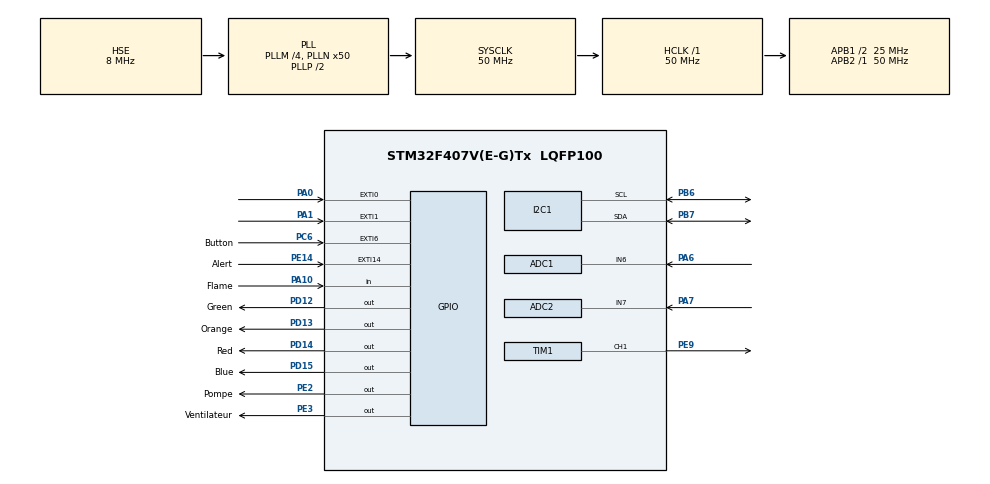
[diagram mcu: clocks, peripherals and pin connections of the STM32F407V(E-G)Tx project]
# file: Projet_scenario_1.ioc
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ADC1.Channel-0\#ChannelRegularConversion=ADC_CHANNEL_6
ADC1.ContinuousConvMode=ENABLE
ADC1.InjNumberOfConversion=0
ADC1.NbrOfConversion=1
ADC1.NbrOfConversionFlag=1
ADC1.Rank-0\#ChannelRegularConversion=1
ADC1.SamplingTime-0\#ChannelRegularConversion=ADC_SAMPLETIME_480CYCLES
ADC1.ScanConvMode=DISABLE
ADC1.master=1
ADC2.Channel-0\#ChannelRegularConversion=ADC_CHANNEL_7
ADC2.ContinuousConvMode=ENABLE
ADC2.NbrOfConversionFlag=1
ADC2.Rank-0\#ChannelRegularConversion=1
ADC2.SamplingTime-0\#ChannelRegularConversion=ADC_SAMPLETIME_3CYCLES
Dma.ADC1.1.Direction=DMA_PERIPH_TO_MEMORY
Dma.ADC1.1.FIFOMode=DMA_FIFOMODE_DISABLE
Dma.ADC1.1.Instance=DMA2_Stream0
Dma.ADC1.1.MemDataAlignment=DMA_MDATAALIGN_HALFWORD
Dma.ADC1.1.MemInc=DMA_MINC_ENABLE
Dma.ADC1.1.Mode=DMA_CIRCULAR
Dma.ADC1.1.PeriphDataAlignment=DMA_PDATAALIGN_HALFWORD
Dma.ADC1.1.PeriphInc=DMA_PINC_DISABLE
Dma.ADC1.1.Priority=DMA_PRIORITY_LOW
Dma.ADC2.2.Direction=DMA_PERIPH_TO_MEMORY
Dma.ADC2.2.FIFOMode=DMA_FIFOMODE_DISABLE
Dma.ADC2.2.Instance=DMA2_Stream2
Dma.ADC2.2.MemDataAlignment=DMA_MDATAALIGN_HALFWORD
Dma.ADC2.2.MemInc=DMA_MINC_ENABLE
Dma.ADC2.2.Mode=DMA_NORMAL
Dma.ADC2.2.PeriphDataAlignment=DMA_PDATAALIGN_HALFWORD
Dma.ADC2.2.PeriphInc=DMA_PINC_DISABLE
Dma.ADC2.2.Priority=DMA_PRIORITY_LOW
Dma.I2C1_TX.0.Direction=DMA_MEMORY_TO_PERIPH
Dma.I2C1_TX.0.FIFOMode=DMA_FIFOMODE_DISABLE
Dma.I2C1_TX.0.Instance=DMA1_Stream6
Dma.I2C1_TX.0.MemDataAlignment=DMA_MDATAALIGN_BYTE
Dma.I2C1_TX.0.MemInc=DMA_MINC_ENABLE
Dma.I2C1_TX.0.Mode=DMA_NORMAL
Dma.I2C1_TX.0.PeriphDataAlignment=DMA_PDATAALIGN_BYTE
Dma.I2C1_TX.0.PeriphInc=DMA_PINC_DISABLE
Dma.I2C1_TX.0.Priority=DMA_PRIORITY_HIGH
Dma.Request0=I2C1_TX
Dma.Request1=ADC1
Dma.Request2=ADC2
Mcu.Family=STM32F4
Mcu.Name=STM32F407V(E-G)Tx
Mcu.Package=LQFP100
NVIC.ADC_IRQn=true\:0\:0\:false\:false\:true\:true\:true\:true
NVIC.DMA1_Stream6_IRQn=true\:0\:0\:false\:false\:true\:false\:true\:true
NVIC.DMA2_Stream0_IRQn=true\:0\:0\:false\:false\:true\:false\:true\:true
NVIC.DMA2_Stream2_IRQn=true\:0\:0\:false\:false\:true\:false\:true\:true
NVIC.EXTI0_IRQn=true\:0\:0\:false\:false\:true\:true\:true\:true
NVIC.EXTI15_10_IRQn=true\:0\:0\:false\:false\:true\:true\:true\:true
NVIC.EXTI1_IRQn=true\:0\:0\:false\:false\:true\:true\:true\:true
NVIC.EXTI9_5_IRQn=true\:0\:0\:false\:false\:true\:true\:true\:true
NVIC.PriorityGroup=NVIC_PRIORITYGROUP_4
NVIC.TIM6_DAC_IRQn=true\:0\:0\:false\:false\:true\:true\:true\:true
NVIC.TIM7_IRQn=true\:0\:0\:false\:false\:true\:true\:true\:true
PA0-WKUP.GPIO_ModeDefaultEXTI=GPIO_MODE_IT_RISING_FALLING
PA0-WKUP.Signal=GPXTI0
PA1.GPIO_ModeDefaultEXTI=GPIO_MODE_IT_RISING_FALLING
PA1.GPIO_PuPd=GPIO_PULLUP
PA1.Signal=GPXTI1
PA10.GPIO_Label=Flame
PA10.Signal=GPIO_Input
PA6.Signal=ADCx_IN6
PA7.Signal=ADCx_IN7
PB6.Mode=I2C
PB6.Signal=I2C1_SCL
PB7.Mode=I2C
PB7.Signal=I2C1_SDA
PC6.GPIO_Label=Button
PC6.GPIO_PuPd=GPIO_PULLDOWN
PC6.Signal=GPXTI6
PD12.GPIO_Label=Green
PD12.Signal=GPIO_Output
PD13.GPIO_Label=Orange
PD13.Signal=GPIO_Output
PD14.GPIO_Label=Red
PD14.Signal=GPIO_Output
PD15.GPIO_Label=Blue
PD15.Signal=GPIO_Output
PE14.GPIO_Label=Alert
PE14.GPIO_PuPd=GPIO_PULLDOWN
PE14.Signal=GPXTI14
PE2.GPIO_Label=Pompe
PE2.Signal=GPIO_Output
PE3.GPIO_Label=Ventilateur
PE3.Signal=GPIO_Output
PE9.Signal=S_TIM1_CH1
PH0-OSC_IN.Mode=HSE-External-Oscillator
PH0-OSC_IN.Signal=RCC_OSC_IN
PH1-OSC_OUT.Mode=HSE-External-Oscillator
PH1-OSC_OUT.Signal=RCC_OSC_OUT
ProjectManager.HeapSize=0x200
ProjectManager.StackSize=0x400
ProjectManager.TargetToolchain=STM32CubeIDE
RCC.48MHZClocksFreq_Value=25000000
RCC.AHBFreq_Value=50000000
RCC.APB1CLKDivider=RCC_HCLK_DIV2
RCC.APB1Freq_Value=25000000
RCC.APB1TimFreq_Value=50000000
RCC.APB2Freq_Value=50000000
RCC.APB2TimFreq_Value=50000000
RCC.CortexFreq_Value=50000000
RCC.HCLKFreq_Value=50000000
RCC.HSE_VALUE=8000000
RCC.HSI_VALUE=16000000
RCC.LSE_VALUE=32768
RCC.PLLM=4
RCC.PLLN=50
RCC.PLLSourceVirtual=RCC_PLLSOURCE_HSE
RCC.SYSCLKFreq_VALUE=50000000
RCC.SYSCLKSource=RCC_SYSCLKSOURCE_PLLCLK
RCC.VCOOutputFreq_Value=100000000
SH.ADCx_IN6.0=ADC1_IN6,IN6
SH.ADCx_IN7.0=ADC2_IN7,IN7
SH.S_TIM1_CH1.0=TIM1_CH1,PWM Generation1 CH1
TIM1.Channel-PWM\ Generation1\ CH1=TIM_CHANNEL_1
TIM1.Period=1000
TIM1.Pulse-PWM\ Generation1\ CH1=500
TIM6.AutoReloadPreload=TIM_AUTORELOAD_PRELOAD_DISABLE
TIM6.Period=19999
TIM6.Prescaler=4999
TIM6.TIM_MasterOutputTrigger=TIM_TRGO_UPDATE
TIM7.Period=29999
TIM7.Prescaler=4999
VP_TIM1_VS_ClockSourceINT.Mode=Internal
VP_TIM6_VS_ClockSourceINT.Mode=Enable_Timer
VP_TIM7_VS_ClockSourceINT.Mode=Enable_Timer
board=custom

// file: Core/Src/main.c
/* USER CODE BEGIN Header */
/**
  ******************************************************************************
  * @file           : main.c
  * @brief          : Main program body
  ******************************************************************************
  * @attention
  *
  * Copyright (c) 2025 STMicroelectronics.
  * All rights reserved.
  *
  * This software is licensed under terms that can be found in the LICENSE file
  * in the root directory of this software component.
  * If no LICENSE file comes with this software, it is provided AS-IS.
  *
  ******************************************************************************
  */
/* USER CODE END Header */
#include "main.h"

/* USER CODE BEGIN Includes */
#include "liquidcrystal_i2c.h"
#include <stdio.h>
#include <string.h>

/* USER CODE END Includes */

/* USER CODE BEGIN PTD */
typedef enum {
  MODE_JOUR = 0,
  MODE_NUIT
} ModeLuminosite;
/* USER CODE END PTD */

/* USER CODE BEGIN PD */
#define MAX_ALERTS 5

typedef enum {
    ALERT_FLAMME = 1,
    ALERT_TEMP_HAUTE,
    ALERT_SOL_SEC
} alert_type_t;
/* USER CODE END PD */

ADC_HandleTypeDef hadc1;
ADC_HandleTypeDef hadc2;
DMA_HandleTypeDef hdma_adc1;
DMA_HandleTypeDef hdma_adc2;

I2C_HandleTypeDef hi2c1;
DMA_HandleTypeDef hdma_i2c1_tx;

TIM_HandleTypeDef htim1;
TIM_HandleTypeDef htim6;
TIM_HandleTypeDef htim7;

/* USER CODE BEGIN PV */
float current_soil= 0.0f;
float current_temperature = 0.0f;
int status=0;
int buzzer_on=0;
int flame_buzzer=0;
ModeLuminosite currentMode = MODE_JOUR;

// Buffer temporaire pour affichage
char display_buffer[17];
int tempbuff[1];
int soilbuff[1];
uint8_t flag=0;

/* USER CODE END PV */

void SystemClock_Config(void);
static void MX_GPIO_Init(void);
static void MX_DMA_Init(void);
static void MX_I2C1_Init(void);
static void MX_TIM1_Init(void);
static void MX_TIM6_Init(void);
static void MX_ADC1_Init(void);
static void MX_TIM7_Init(void);
static void MX_ADC2_Init(void);
/* USER CODE BEGIN PFP */
void PrepareLastTwoAlerts(void);
void Log_Alert(alert_type_t type);

/* USER CODE BEGIN 0 */

void HAL_GPIO_EXTI_Callback(uint16_t GPIO_Pin)
{
    if (GPIO_Pin == Button_Pin)
    {
        status = !status;

        if (status)
        {
            HAL_GPIO_WritePin(GPIOD, Green_Pin, GPIO_PIN_SET);
            HAL_GPIO_WritePin(GPIOD, Blue_Pin, GPIO_PIN_RESET);
            HAL_GPIO_WritePin(GPIOD, Orange_Pin, GPIO_PIN_RESET);
            HAL_GPIO_WritePin(GPIOD, Red_Pin, GPIO_PIN_RESET);
            HD44780_Clear();
            HD44780_SetCursor(0,0);
            HD44780_PrintStr("SYSTEM");
            HD44780_SetCursor(0,1);
            HD44780_PrintStr("ON");
        }
        else
        {
            HAL_GPIO_WritePin(GPIOD, Green_Pin, GPIO_PIN_RESET);
            HAL_GPIO_WritePin(GPIOD, Blue_Pin, GPIO_PIN_RESET);
            HAL_GPIO_WritePin(GPIOD, Orange_Pin, GPIO_PIN_RESET);
            HD44780_Clear();
            HD44780_SetCursor(0,0);
            HD44780_PrintStr("SYSTEM");
            HD44780_SetCursor(0,1);
            HD44780_PrintStr("OFF");
        }
    }

    if ((GPIO_Pin == GPIO_PIN_0) && status)
    {
        GPIO_PinState ldrState = HAL_GPIO_ReadPin(GPIOA, GPIO_PIN_0);

        if (ldrState != GPIO_PIN_SET)
        {
            currentMode = MODE_JOUR;
            HAL_GPIO_WritePin(GPIOD, Blue_Pin, GPIO_PIN_RESET);

            HD44780_Clear();
            HD44780_SetCursor(0,0);
            HD44780_PrintStr("Mode jour active");
            HD44780_SetCursor(0,1);
            HD44780_PrintStr("Lumiere forte");
        }
        else
        {
            currentMode = MODE_NUIT;
            HAL_GPIO_WritePin(GPIOD, Blue_Pin, GPIO_PIN_SET);

            HD44780_Clear();
            HD44780_SetCursor(0,0);
            HD44780_PrintStr("Mode nuit active");
            HD44780_SetCursor(0,1);
            HD44780_PrintStr("Lumiere faible");
        }
    }
    if((GPIO_Pin == Alert_Pin)&& status)
    {

    	flag= 1;

    }
}

void HAL_TIM_PeriodElapsedCallback(TIM_HandleTypeDef *htim)
{
	if (htim->Instance == TIM6)
	{
		HAL_ADC_Start_DMA(&hadc1,(uint32_t *)tempbuff,1);
		HAL_ADC_Start_DMA(&hadc2, (uint32_t*)&soilbuff, 1);
	}
	else if (htim->Instance == TIM7)
	{
		HAL_GPIO_WritePin(GPIOD, Blue_Pin, GPIO_PIN_RESET);
		HAL_GPIO_WritePin(GPIOD, Orange_Pin, GPIO_PIN_RESET);
		HAL_GPIO_WritePin(GPIOD, Red_Pin, GPIO_PIN_RESET);
		HAL_GPIO_WritePin(GPIOE, Pompe_Pin, GPIO_PIN_RESET);
		HAL_GPIO_WritePin(GPIOE, Ventilateur_Pin, GPIO_PIN_RESET);

		HAL_TIM_PWM_Stop(&htim1,TIM_CHANNEL_1);
	    HAL_TIM_Base_Stop_IT(&htim7);
	}
}
/* Variables globales à ajouter */

/* Remplace tout ton HAL_ADC_ConvCpltCallback par ça */
void HAL_ADC_ConvCpltCallback(ADC_HandleTypeDef* hadc)
{
    char line1[17], line2[17];

    /* ====================== ADC1 = TEMPÉRATURE ====================== */
    if (hadc->Instance == ADC1 && status)
    {
        int raw = HAL_ADC_GetValue(&hadc1);
        float voltage = (raw * 3.3f) / 4095.0f;
        current_temperature = (voltage - 0.75f) * 100.0f;  // LM35 ou TMP36

        /* Si température haute */
        if (current_temperature > 35.0f)
        {
            snprintf(line1, 17, "TEMP: %.1fC", current_temperature);
            snprintf(line2, 17, "VENTILATEUR ON");

            HAL_GPIO_WritePin(GPIOD, Blue_Pin, GPIO_PIN_SET);
            HAL_GPIO_WritePin(GPIOE, Ventilateur_Pin, GPIO_PIN_SET);

            buzzer_on = 1;
            Log_Alert(ALERT_TEMP_HAUTE);
        }
    }

    /* ====================== ADC2 = HUMIDITÉ SOL ====================== */
    else if (hadc->Instance == ADC2 && status)
    {
        int raw = HAL_ADC_GetValue(&hadc2);
        current_soil = (float)raw;

        /* Seuil pour sol sec */
        if (raw > 3200)
        {
            snprintf(line1, 17, "Soil: %d", raw);
            snprintf(line2, 17, "POMPE ON");

            HAL_GPIO_WritePin(GPIOD, Blue_Pin, GPIO_PIN_SET);
            HAL_GPIO_WritePin(GPIOE, Pompe_Pin, GPIO_PIN_SET);

            buzzer_on = 1;
            Log_Alert(ALERT_SOL_SEC);
        }

        /* ====================== FLAMME ====================== */
        GPIO_PinState flame = HAL_GPIO_ReadPin(GPIOA, Flame_Pin);

        if (flame == GPIO_PIN_RESET)
        {
            snprintf(line1, 17, "Flamme!!");
            snprintf(line2, 17, "System STOP");

            HAL_GPIO_WritePin(GPIOD, Red_Pin, GPIO_PIN_SET);

            flame_buzzer = 1;
            HAL_TIM_PWM_Start(&htim1, TIM_CHANNEL_1);

            Log_Alert(ALERT_FLAMME);

            /* Timer d'arrêt total */
            HAL_TIM_Base_Start_IT(&htim7);
        }
        else
        {
            /* === Aucun danger détecté === */
            snprintf(line1, 17, "Temp: %.1fC", current_temperature);
            snprintf(line2, 17, "Soil: %.0f", current_soil);

            HAL_GPIO_WritePin(GPIOD, Blue_Pin, GPIO_PIN_RESET);
            HAL_GPIO_WritePin(GPIOE, Ventilateur_Pin, GPIO_PIN_RESET);
        }

        /* Affichage LCD */
        HD44780_Clear();
        HD44780_SetCursor(0,0); HD44780_PrintStr(line1);
        HD44780_SetCursor(0,1); HD44780_PrintStr(line2);

        /* Auto Reset après 3 secondes */
        HAL_TIM_Base_Start_IT(&htim7);
    }
}

/* USER CODE END PFP */

/* USER CODE BEGIN 0 */

/* Variables globales à ajouter */

/* Remplace tout ton HAL_ADC_ConvCpltCallback par ça */
/* USER CODE END PFP */
/* USER CODE END 0 */

int main(void)
{

  /* MCU Configuration--------------------------------------------------------*/

  /* Reset of all peripherals, Initializes the Flash interface and the Systick. */
  HAL_Init();

  /* Configure the system clock */
  SystemClock_Config();

  /* Initialize all configured peripherals */
  MX_GPIO_Init();
  MX_DMA_Init();
  MX_I2C1_Init();
  MX_TIM1_Init();
  MX_TIM6_Init();
  MX_ADC1_Init();
  MX_TIM7_Init();
  MX_ADC2_Init();
  /* USER CODE BEGIN 2 */
  //INIT
  HAL_TIM_Base_Start_IT(&htim6);

  //LCD DEFAULT
  HD44780_Init(2);
  HD44780_Clear();
  HD44780_SetCursor(0,0);

  HD44780_PrintStr("Appuyer sur");
  HD44780_SetCursor(0,1);
  HD44780_PrintStr("le button");

  /* USER CODE END 2 */

  /* Infinite loop */
  while (1)
  {

    /* USER CODE BEGIN 3 */
	  if (flag == 1)
	  {
	      flag = 0;
	      Show_Last_Two_Alerts();
	  }

	  if(HAL_GPIO_ReadPin(GPIOC, Alert_Pin)==GPIO_PIN_RESET)

	  	  {
      	HAL_GPIO_WritePin(GPIOD, Blue_Pin, GPIO_PIN_SET);

	  	  }
	  else
	      HAL_GPIO_WritePin(GPIOD, Blue_Pin, GPIO_PIN_RESET);

	  if(buzzer_on==1)
	  {
		  HAL_Delay(500);
		  HAL_TIM_PWM_Stop(&htim1,TIM_CHANNEL_1);
		  buzzer_on=0;
	  }
	  if(flame_buzzer==1)
	  {
		  HAL_Delay(1000);
		  HAL_TIM_PWM_Stop(&htim1,TIM_CHANNEL_1);
		  flame_buzzer=0;
		  HD44780_Clear();
		  HD44780_SetCursor(0,0);
		  HD44780_PrintStr("Appuyer sur");
		  HD44780_SetCursor(0,1);
		  HD44780_PrintStr("le button");

	  }

	  //    // update twice per second

  }

  /* USER CODE END 3 */
}

void SystemClock_Config(void)
{
  RCC_OscInitTypeDef RCC_OscInitStruct = {0};
  RCC_ClkInitTypeDef RCC_ClkInitStruct = {0};

  /** Configure the main internal regulator output voltage
  */
  __HAL_RCC_PWR_CLK_ENABLE();
  __HAL_PWR_VOLTAGESCALING_CONFIG(PWR_REGULATOR_VOLTAGE_SCALE1);

  /** Initializes the RCC Oscillators according to the specified parameters
  * in the RCC_OscInitTypeDef structure.
  */
  RCC_OscInitStruct.OscillatorType = RCC_OSCILLATORTYPE_HSE;
  RCC_OscInitStruct.HSEState = RCC_HSE_ON;
  RCC_OscInitStruct.PLL.PLLState = RCC_PLL_ON;
  RCC_OscInitStruct.PLL.PLLSource = RCC_PLLSOURCE_HSE;
  RCC_OscInitStruct.PLL.PLLM = 4;
  RCC_OscInitStruct.PLL.PLLN = 50;
  RCC_OscInitStruct.PLL.PLLP = RCC_PLLP_DIV2;
  RCC_OscInitStruct.PLL.PLLQ = 4;
  if (HAL_RCC_OscConfig(&RCC_OscInitStruct) != HAL_OK)
  {
    Error_Handler();
  }

  /** Initializes the CPU, AHB and APB buses clocks
  */
  RCC_ClkInitStruct.ClockType = RCC_CLOCKTYPE_HCLK|RCC_CLOCKTYPE_SYSCLK
                              |RCC_CLOCKTYPE_PCLK1|RCC_CLOCKTYPE_PCLK2;
  RCC_ClkInitStruct.SYSCLKSource = RCC_SYSCLKSOURCE_PLLCLK;
  RCC_ClkInitStruct.AHBCLKDivider = RCC_SYSCLK_DIV1;
  RCC_ClkInitStruct.APB1CLKDivider = RCC_HCLK_DIV2;
  RCC_ClkInitStruct.APB2CLKDivider = RCC_HCLK_DIV1;

  if (HAL_RCC_ClockConfig(&RCC_ClkInitStruct, FLASH_LATENCY_1) != HAL_OK)
  {
    Error_Handler();
  }
}

static void MX_ADC1_Init(void)
{

  ADC_ChannelConfTypeDef sConfig = {0};

  /** Configure the global features of the ADC (Clock, Resolution, Data Alignment and number of conversion)
  */
  hadc1.Instance = ADC1;
  hadc1.Init.ClockPrescaler = ADC_CLOCK_SYNC_PCLK_DIV2;
  hadc1.Init.Resolution = ADC_RESOLUTION_12B;
  hadc1.Init.ScanConvMode = DISABLE;
  hadc1.Init.ContinuousConvMode = ENABLE;
  hadc1.Init.DiscontinuousConvMode = DISABLE;
  hadc1.Init.ExternalTrigConvEdge = ADC_EXTERNALTRIGCONVEDGE_NONE;
  hadc1.Init.ExternalTrigConv = ADC_SOFTWARE_START;
  hadc1.Init.DataAlign = ADC_DATAALIGN_RIGHT;
  hadc1.Init.NbrOfConversion = 1;
  hadc1.Init.DMAContinuousRequests = DISABLE;
  hadc1.Init.EOCSelection = ADC_EOC_SINGLE_CONV;
  if (HAL_ADC_Init(&hadc1) != HAL_OK)
  {
    Error_Handler();
  }

  /** Configure for the selected ADC regular channel its corresponding rank in the sequencer and its sample time.
  */
  sConfig.Channel = ADC_CHANNEL_6;
  sConfig.Rank = 1;
  sConfig.SamplingTime = ADC_SAMPLETIME_480CYCLES;
  if (HAL_ADC_ConfigChannel(&hadc1, &sConfig) != HAL_OK)
  {
    Error_Handler();
  }

}

static void MX_ADC2_Init(void)
{

  ADC_ChannelConfTypeDef sConfig = {0};

  /** Configure the global features of the ADC (Clock, Resolution, Data Alignment and number of conversion)
  */
  hadc2.Instance = ADC2;
  hadc2.Init.ClockPrescaler = ADC_CLOCK_SYNC_PCLK_DIV2;
  hadc2.Init.Resolution = ADC_RESOLUTION_12B;
  hadc2.Init.ScanConvMode = DISABLE;
  hadc2.Init.ContinuousConvMode = ENABLE;
  hadc2.Init.DiscontinuousConvMode = DISABLE;
  hadc2.Init.ExternalTrigConvEdge = ADC_EXTERNALTRIGCONVEDGE_NONE;
  hadc2.Init.ExternalTrigConv = ADC_SOFTWARE_START;
  hadc2.Init.DataAlign = ADC_DATAALIGN_RIGHT;
  hadc2.Init.NbrOfConversion = 1;
  hadc2.Init.DMAContinuousRequests = DISABLE;
  hadc2.Init.EOCSelection = ADC_EOC_SINGLE_CONV;
  if (HAL_ADC_Init(&hadc2) != HAL_OK)
  {
    Error_Handler();
  }

  /** Configure for the selected ADC regular channel its corresponding rank in the sequencer and its sample time.
  */
  sConfig.Channel = ADC_CHANNEL_7;
  sConfig.Rank = 1;
  sConfig.SamplingTime = ADC_SAMPLETIME_480CYCLES;
  if (HAL_ADC_ConfigChannel(&hadc2, &sConfig) != HAL_OK)
  {
    Error_Handler();
  }

}

static void MX_I2C1_Init(void)
{

  hi2c1.Instance = I2C1;
  hi2c1.Init.ClockSpeed = 100000;
  hi2c1.Init.DutyCycle = I2C_DUTYCYCLE_2;
  hi2c1.Init.OwnAddress1 = 0;
  hi2c1.Init.AddressingMode = I2C_ADDRESSINGMODE_7BIT;
  hi2c1.Init.DualAddressMode = I2C_DUALADDRESS_DISABLE;
  hi2c1.Init.OwnAddress2 = 0;
  hi2c1.Init.GeneralCallMode = I2C_GENERALCALL_DISABLE;
  hi2c1.Init.NoStretchMode = I2C_NOSTRETCH_DISABLE;
  if (HAL_I2C_Init(&hi2c1) != HAL_OK)
  {
    Error_Handler();
  }

}

static void MX_TIM1_Init(void)
{

  TIM_ClockConfigTypeDef sClockSourceConfig = {0};
  TIM_MasterConfigTypeDef sMasterConfig = {0};
  TIM_OC_InitTypeDef sConfigOC = {0};
  TIM_BreakDeadTimeConfigTypeDef sBreakDeadTimeConfig = {0};

  htim1.Instance = TIM1;
  htim1.Init.Prescaler = 0;
  htim1.Init.CounterMode = TIM_COUNTERMODE_UP;
  htim1.Init.Period = 1000;
  htim1.Init.ClockDivision = TIM_CLOCKDIVISION_DIV1;
  htim1.Init.RepetitionCounter = 0;
  htim1.Init.AutoReloadPreload = TIM_AUTORELOAD_PRELOAD_DISABLE;
  if (HAL_TIM_Base_Init(&htim1) != HAL_OK)
  {
    Error_Handler();
  }
  sClockSourceConfig.ClockSource = TIM_CLOCKSOURCE_INTERNAL;
  if (HAL_TIM_ConfigClockSource(&htim1, &sClockSourceConfig) != HAL_OK)
  {
    Error_Handler();
  }
  if (HAL_TIM_PWM_Init(&htim1) != HAL_OK)
  {
    Error_Handler();
  }
  sMasterConfig.MasterOutputTrigger = TIM_TRGO_RESET;
  sMasterConfig.MasterSlaveMode = TIM_MASTERSLAVEMODE_DISABLE;
  if (HAL_TIMEx_MasterConfigSynchronization(&htim1, &sMasterConfig) != HAL_OK)
  {
    Error_Handler();
  }
  sConfigOC.OCMode = TIM_OCMODE_PWM1;
  sConfigOC.Pulse = 500;
  sConfigOC.OCPolarity = TIM_OCPOLARITY_HIGH;
  sConfigOC.OCNPolarity = TIM_OCNPOLARITY_HIGH;
  sConfigOC.OCFastMode = TIM_OCFAST_DISABLE;
  sConfigOC.OCIdleState = TIM_OCIDLESTATE_RESET;
  sConfigOC.OCNIdleState = TIM_OCNIDLESTATE_RESET;
  if (HAL_TIM_PWM_ConfigChannel(&htim1, &sConfigOC, TIM_CHANNEL_1) != HAL_OK)
  {
    Error_Handler();
  }
  sBreakDeadTimeConfig.OffStateRunMode = TIM_OSSR_DISABLE;
  sBreakDeadTimeConfig.OffStateIDLEMode = TIM_OSSI_DISABLE;
  sBreakDeadTimeConfig.LockLevel = TIM_LOCKLEVEL_OFF;
  sBreakDeadTimeConfig.DeadTime = 0;
  sBreakDeadTimeConfig.BreakState = TIM_BREAK_DISABLE;
  sBreakDeadTimeConfig.BreakPolarity = TIM_BREAKPOLARITY_HIGH;
  sBreakDeadTimeConfig.AutomaticOutput = TIM_AUTOMATICOUTPUT_DISABLE;
  if (HAL_TIMEx_ConfigBreakDeadTime(&htim1, &sBreakDeadTimeConfig) != HAL_OK)
  {
    Error_Handler();
  }
  HAL_TIM_MspPostInit(&htim1);

}

static void MX_TIM6_Init(void)
{

  TIM_MasterConfigTypeDef sMasterConfig = {0};

  htim6.Instance = TIM6;
  htim6.Init.Prescaler = 4999;
  htim6.Init.CounterMode = TIM_COUNTERMODE_UP;
  htim6.Init.Period = 19999;
  htim6.Init.AutoReloadPreload = TIM_AUTORELOAD_PRELOAD_DISABLE;
  if (HAL_TIM_Base_Init(&htim6) != HAL_OK)
  {
    Error_Handler();
  }
  sMasterConfig.MasterOutputTrigger = TIM_TRGO_UPDATE;
  sMasterConfig.MasterSlaveMode = TIM_MASTERSLAVEMODE_DISABLE;
  if (HAL_TIMEx_MasterConfigSynchronization(&htim6, &sMasterConfig) != HAL_OK)
  {
    Error_Handler();
  }

}

static void MX_TIM7_Init(void)
{

  TIM_MasterConfigTypeDef sMasterConfig = {0};

  htim7.Instance = TIM7;
  htim7.Init.Prescaler = 4999;
  htim7.Init.CounterMode = TIM_COUNTERMODE_UP;
  htim7.Init.Period = 29999;
  htim7.Init.AutoReloadPreload = TIM_AUTORELOAD_PRELOAD_DISABLE;
  if (HAL_TIM_Base_Init(&htim7) != HAL_OK)
  {
    Error_Handler();
  }
  sMasterConfig.MasterOutputTrigger = TIM_TRGO_RESET;
  sMasterConfig.MasterSlaveMode = TIM_MASTERSLAVEMODE_DISABLE;
  if (HAL_TIMEx_MasterConfigSynchronization(&htim7, &sMasterConfig) != HAL_OK)
  {
    Error_Handler();
  }

}

static void MX_DMA_Init(void)
{

  /* DMA controller clock enable */
  __HAL_RCC_DMA1_CLK_ENABLE();
  __HAL_RCC_DMA2_CLK_ENABLE();

  /* DMA interrupt init */
  /* DMA1_Stream6_IRQn interrupt configuration */
  HAL_NVIC_SetPriority(DMA1_Stream6_IRQn, 0, 0);
  HAL_NVIC_EnableIRQ(DMA1_Stream6_IRQn);
  /* DMA2_Stream0_IRQn interrupt configuration */
  HAL_NVIC_SetPriority(DMA2_Stream0_IRQn, 0, 0);
  HAL_NVIC_EnableIRQ(DMA2_Stream0_IRQn);
  /* DMA2_Stream2_IRQn interrupt configuration */
  HAL_NVIC_SetPriority(DMA2_Stream2_IRQn, 0, 0);
  HAL_NVIC_EnableIRQ(DMA2_Stream2_IRQn);

}

static void MX_GPIO_Init(void)
{
  GPIO_InitTypeDef GPIO_InitStruct = {0};

  /* GPIO Ports Clock Enable */
  __HAL_RCC_GPIOE_CLK_ENABLE();
  __HAL_RCC_GPIOH_CLK_ENABLE();
  __HAL_RCC_GPIOA_CLK_ENABLE();
  __HAL_RCC_GPIOD_CLK_ENABLE();
  __HAL_RCC_GPIOC_CLK_ENABLE();
  __HAL_RCC_GPIOB_CLK_ENABLE();

  /*Configure GPIO pin Output Level */
  HAL_GPIO_WritePin(GPIOE, Pompe_Pin|Ventilateur_Pin, GPIO_PIN_RESET);

  /*Configure GPIO pin Output Level */
  HAL_GPIO_WritePin(GPIOD, Green_Pin|Orange_Pin|Red_Pin|Blue_Pin, GPIO_PIN_RESET);

  /*Configure GPIO pins : Pompe_Pin Ventilateur_Pin */
  GPIO_InitStruct.Pin = Pompe_Pin|Ventilateur_Pin;
  GPIO_InitStruct.Mode = GPIO_MODE_OUTPUT_PP;
  GPIO_InitStruct.Pull = GPIO_NOPULL;
  GPIO_InitStruct.Speed = GPIO_SPEED_FREQ_LOW;
  HAL_GPIO_Init(GPIOE, &GPIO_InitStruct);

  /*Configure GPIO pin : PA0 */
  GPIO_InitStruct.Pin = GPIO_PIN_0;
  GPIO_InitStruct.Mode = GPIO_MODE_IT_RISING_FALLING;
  GPIO_InitStruct.Pull = GPIO_NOPULL;
  HAL_GPIO_Init(GPIOA, &GPIO_InitStruct);

  /*Configure GPIO pin : PA1 */
  GPIO_InitStruct.Pin = GPIO_PIN_1;
  GPIO_InitStruct.Mode = GPIO_MODE_IT_RISING_FALLING;
  GPIO_InitStruct.Pull = GPIO_PULLUP;
  HAL_GPIO_Init(GPIOA, &GPIO_InitStruct);

  /*Configure GPIO pin : Alert_Pin */
  GPIO_InitStruct.Pin = Alert_Pin;
  GPIO_InitStruct.Mode = GPIO_MODE_IT_RISING;
  GPIO_InitStruct.Pull = GPIO_PULLDOWN;
  HAL_GPIO_Init(Alert_GPIO_Port, &GPIO_InitStruct);

  /*Configure GPIO pins : Green_Pin Orange_Pin Red_Pin Blue_Pin */
  GPIO_InitStruct.Pin = Green_Pin|Orange_Pin|Red_Pin|Blue_Pin;
  GPIO_InitStruct.Mode = GPIO_MODE_OUTPUT_PP;
  GPIO_InitStruct.Pull = GPIO_NOPULL;
  GPIO_InitStruct.Speed = GPIO_SPEED_FREQ_LOW;
  HAL_GPIO_Init(GPIOD, &GPIO_InitStruct);

  /*Configure GPIO pin : Button_Pin */
  GPIO_InitStruct.Pin = Button_Pin;
  GPIO_InitStruct.Mode = GPIO_MODE_IT_RISING;
  GPIO_InitStruct.Pull = GPIO_PULLDOWN;
  HAL_GPIO_Init(Button_GPIO_Port, &GPIO_InitStruct);

  /*Configure GPIO pin : Flame_Pin */
  GPIO_InitStruct.Pin = Flame_Pin;
  GPIO_InitStruct.Mode = GPIO_MODE_INPUT;
  GPIO_InitStruct.Pull = GPIO_NOPULL;
  HAL_GPIO_Init(Flame_GPIO_Port, &GPIO_InitStruct);

  /* EXTI interrupt init*/
  HAL_NVIC_SetPriority(EXTI0_IRQn, 0, 0);
  HAL_NVIC_EnableIRQ(EXTI0_IRQn);

  HAL_NVIC_SetPriority(EXTI1_IRQn, 0, 0);
  HAL_NVIC_EnableIRQ(EXTI1_IRQn);

  HAL_NVIC_SetPriority(EXTI9_5_IRQn, 0, 0);
  HAL_NVIC_EnableIRQ(EXTI9_5_IRQn);

  HAL_NVIC_SetPriority(EXTI15_10_IRQn, 0, 0);
  HAL_NVIC_EnableIRQ(EXTI15_10_IRQn);

}

/* USER CODE BEGIN 4 */
uint8_t alert_log[MAX_ALERTS] __attribute__((section(".ccmram")));
uint8_t alert_idx = 0;
uint8_t alert_cnt = 0;

void Log_Alert(alert_type_t type)
{
    alert_log[alert_idx] = type;
    alert_idx = (alert_idx + 1) % MAX_ALERTS;
    if (alert_cnt < MAX_ALERTS) alert_cnt++;
}

volatile uint8_t i2c_dma_busy = 0;

void LCD_Print_DMA(const char* str)
{
    static uint8_t buffer[64];
    uint8_t* p = buffer;

    while (*str)
    {
        uint8_t c = *str++;
        *p++ = (c & 0xF0) | 0x0D;
        *p++ = (c & 0xF0) | 0x09;
        *p++ = (c << 4)   | 0x0D;
        *p++ = (c << 4)   | 0x09;
    }

    uint16_t len = p - buffer;
    if (len == 0) return;

    while (i2c_dma_busy);  // very rare

    HAL_I2C_Master_Transmit_DMA(&hi2c1, 0x4E, buffer, len);  // 0x27 << 1 = 0x4E
    i2c_dma_busy = 1;
}

// Called automatically by HAL when transmission finishes
void HAL_I2C_MasterTxCpltCallback(I2C_HandleTypeDef *hi2c)
{
    if (hi2c == &hi2c1)
        i2c_dma_busy = 0;
}

void Show_Last_Two_Alerts(void)
{
    HD44780_Clear();

    if (alert_cnt == 0)
    {
        HD44780_SetCursor(0,0);
        HD44780_PrintStr("  SYSTEME OK   ");
        return;
    }

    uint8_t last = (alert_idx == 0) ? MAX_ALERTS-1 : alert_idx-1;
    uint8_t prev = (last == 0) ? MAX_ALERTS-1 : last-1;

    const char* msg1 = "???";
    const char* msg2 = "???";

    switch(alert_log[last])
    {
        case ALERT_FLAMME:      msg1 = "!!! FLAMME !!!"; break;
        case ALERT_TEMP_HAUTE:  msg1 = "TEMP TROP HAUTE"; break;
        case ALERT_SOL_SEC:     msg1 = " !! SOL SEC !! "; break;
    }
    switch(alert_log[prev])
    {
        case ALERT_FLAMME:      msg2 = "!!! FLAMME !!!"; break;
        case ALERT_TEMP_HAUTE:  msg2 = "TEMP TROP HAUTE"; break;
        case ALERT_SOL_SEC:     msg2 = " !! SOL SEC !! "; break;
    }

    HD44780_SetCursor(0,0);
    HD44780_PrintStr(msg1);
    HD44780_SetCursor(0,1);
    HD44780_PrintStr(msg2);
}

/* USER CODE END 4 */

void Error_Handler(void)
{
  __disable_irq();
  while (1)
  {
  }
}
